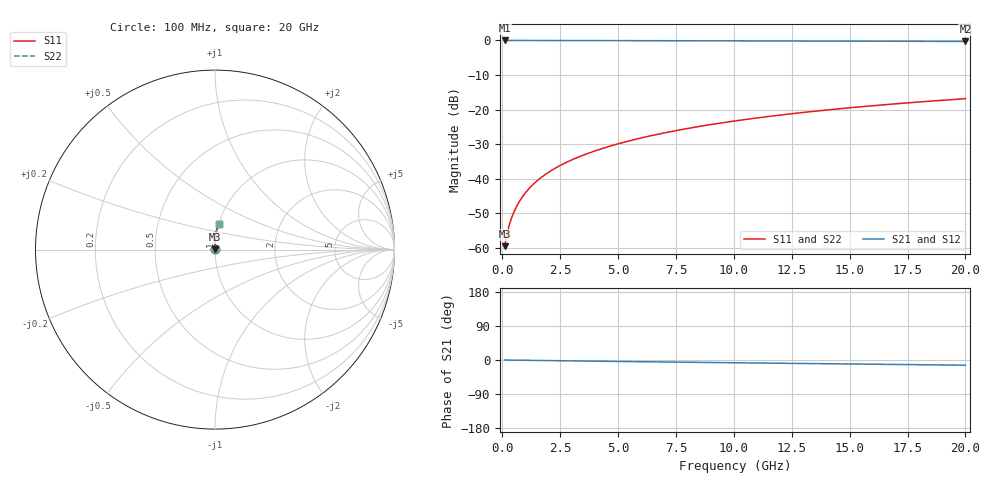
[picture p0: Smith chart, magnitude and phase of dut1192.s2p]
! Touchstone file exported from HFSS 2024.1.0
!  File:  C:/UserFiles/LocalFiles/RDL_TSV_Batchsim/temp_RDL_top_1192_1780049637.aedt
!  Generated:  06:16:07 PM May 29, 2026
!  Design:  RDL_top
!  Project:  temp_RDL_top_1192_1780049637
!  Setup:  Setup1
!  Solution:  Sweep
! Variables:
!  dtsv = 10.80580581um
!  hbump = 3um
!  htsv = 53.02um
!  ldown = 100um
!  lrdl = 180.57um
!  p = 40
!  p1 = 45.13um
!  rhole = 1um
!  t = 450um
!  tdown = 3.915915916um
!  trdl = 4.57um
!  wdown = 15.38538539um
!  wrdl = 21.92um
# GHz S MA R 50.000000
! Terminal data exported
! Port[1] = Box2_T1
! Port[2] = Box2_T2
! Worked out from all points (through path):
!   200 points, 100 MHz to 20 GHz, reference 50 ohm
!   highest |S21| = -0.01 dB at 100 MHz (marker M1); lowest = -0.3 dB at 20 GHz (marker M2)
!   group delay of S21, straight-line fit = 1.87 ps
!   lowest |S11| = -59.5 dB at 100 MHz (marker M3), VSWR 1.00, Z = 50.1 + j0.068 ohm
!   |S11| at or under -10 dB: start of sweep to end of sweep
!   |S22| runs from -59.5 to -16.9 dB; largest |S21 - S12| = 7.4e-15
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0.1  0.001055 40.0  0.9992 -0.1  0.9992 -0.1  0.001055 40.0
! Gamma 0 0 0 0
! Port Impedance 50 0 50 0
0.2  0.001573 57.1  0.9991 -0.2  0.9991 -0.2  0.001573 57.1
0.3  0.00213 65.3  0.9991 -0.2  0.9991 -0.2  0.00213 65.3
0.4  0.0027 70.3  0.999 -0.3  0.999 -0.3  0.0027 70.3
0.5  0.003278 73.6  0.999 -0.4  0.999 -0.4  0.003278 73.6
0.6  0.003863 76.1  0.9989 -0.5  0.9989 -0.5  0.003863 76.1
0.8  0.00505 79.5  0.9988 -0.6  0.9988 -0.6  0.00505 79.5
1.1  0.006858 82.5  0.9987 -0.9  0.9987 -0.9  0.006858 82.5
1.5  0.009299 84.8  0.9984 -1.2  0.9984 -1.2  0.009299 84.8
1.8  0.01115 85.9  0.9981 -1.4  0.9981 -1.4  0.01115 85.9
2.1  0.01301 86.8  0.9978 -1.7  0.9978 -1.7  0.01301 86.8
2.7  0.01678 88.0  0.9971 -2.1  0.9971 -2.1  0.01678 88.0
3.5  0.02192 89.1  0.996 -2.7  0.996 -2.7  0.02192 89.1
4.2  0.02652 89.6  0.9949 -3.3  0.9949 -3.3  0.02652 89.6
5  0.0319 90.0  0.9935 -3.8  0.9935 -3.8  0.0319 90.0
5.9  0.03812 90.2  0.9919 -4.5  0.9919 -4.5  0.03812 90.2
6.8  0.0445 90.2  0.9902 -5.1  0.9902 -5.1  0.0445 90.2
8.4  0.05616 89.8  0.9872 -6.2  0.9872 -6.2  0.05616 89.8
10.1  0.06886 89.0  0.9842 -7.3  0.9842 -7.3  0.06886 89.0
13.4  0.0939 86.7  0.9786 -9.5  0.9786 -9.5  0.0939 86.7
16.7  0.1189 84.2  0.9732 -11.6  0.9732 -11.6  0.1189 84.2
20  0.1436 81.6  0.9679 -13.7  0.9679 -13.7  0.1436 81.6
